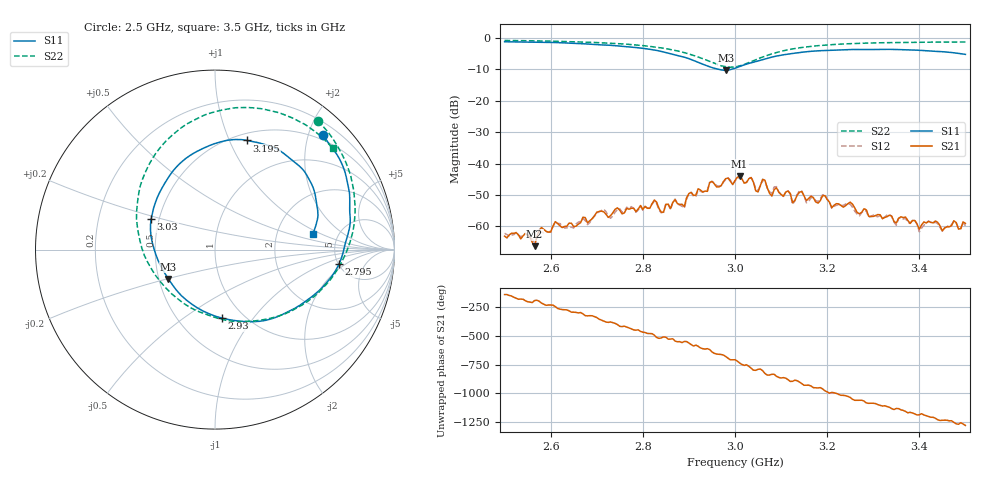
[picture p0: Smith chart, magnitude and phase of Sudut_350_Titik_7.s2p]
# Hz S RI R 50
! CMT, C1220, 16058040, 17.2.0/1
! Date: 15/08/2018 10:12:04
! Data: Format (Calibration Info)
! Freq  S11: Re/Im (F2)  S21: Re/Im (F2)  S12: Re/Im (F2)  S22: Re/Im (F2)
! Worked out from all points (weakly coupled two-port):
!   201 points, 2.5 GHz to 3.5 GHz, reference 50 ohm
!   highest |S21| = -43.97 dB at 3.01 GHz (marker M1); lowest = -66.3 dB at 2.565 GHz (marker M2)
!   lowest |S11| = -10.3 dB at 2.98 GHz (marker M3), VSWR 1.89, Z = 28.1 - j10.1 ohm
!   |S11| at or under -10 dB: 2.966 GHz to 2.991 GHz (24.61 MHz wide, 0.826 % of centre)
!   |S22| runs from -9.3 to -0.7 dB; largest |S21 - S12| = 0.00043
!   S11 on the Smith chart (normalised r, x): 2.5 GHz: 0.41, +2.25; 2.795 GHz: 5.03, -1.59; 2.93 GHz: 0.80, -0.72; 3.03 GHz: 0.45, +0.18; 3.195 GHz: 0.57, +1.16; 3.5 GHz: 3.23, +0.80
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2.5e9  0.5996 0.6371  -0.000544 -0.000439  -0.000601 -0.000491  0.5728 0.7167
2.565e9  0.6696 0.5434  -0.000472 0.000107  -0.000504 0.000237  0.6457 0.6337
2.58e9  0.6868 0.5172  -0.000779 0.000555  -0.000672 0.00047  0.6614 0.6105
2.67e9  0.7488 0.3168  0.000881 0.00109  0.0009 0.000991  0.7455 0.4433
2.795e9  0.6901 -0.0817  -0.00042 -0.00211  -0.000419 -0.00203  0.7623 0.0774
2.835e9  0.5836 -0.2253  -0.00183 -0.000615  -0.00172 -0.000618  0.7022 -0.0764
2.93e9  0.0405 -0.382  -0.00114 0.00334  -0.00136 0.00322  0.2575 -0.3926
2.98e9  -0.2598 -0.1631  0.00437 0.00377  0.0042 0.00372  -0.1379 -0.3232
3e9  -0.3301 -0.0264  0.00523 0.00118  0.00524 0.000986  -0.2752 -0.2126
3.01e9  -0.3497 0.0406  0.0061 -0.00169  0.00585 -0.0015  -0.331 -0.1442
3.03e9  -0.3558 0.1718  0.00413 -0.004  0.00418 -0.004  -0.4079 0.00939
3.05e9  -0.3212 0.2909  0.00119 -0.00334  0.00118 -0.00361  -0.4373 0.1696
3.06e9  -0.2933 0.3465  0.000739 -0.00558  0.000498 -0.00544  -0.4334 0.2481
3.115e9  -0.1013 0.5466  -0.00345 -0.00125  -0.00351 -0.00107  -0.2951 0.5805
3.125e9  -0.0619 0.5661  -0.00237 -0.000218  -0.00224 -0.000158  -0.2556 0.6215
3.14e9  -0.00404 0.5898  -0.00351 6.89e-05  -0.0037 0.000144  -0.1961 0.6726
3.17e9  0.0988 0.6124  -0.00187 0.00219  -0.00199 0.00206  -0.0763 0.7415
3.195e9  0.1784 0.6079  -0.00073 0.003  -0.000617 0.0031  0.017 0.7722
3.21e9  0.2232 0.5992  3.67e-05 0.00198  0.000172 0.00193  0.0719 0.7837
3.335e9  0.4927 0.4423  0.00116 -0.000961  0.00114 -0.00105  0.4082 0.743
3.4e9  0.5552 0.318  -0.000236 -0.000869  -0.000295 -0.000764  0.5255 0.6802
3.5e9  0.544 0.0863  -0.00106 0.000345  -0.000913 0.00045  0.6573 0.5641
